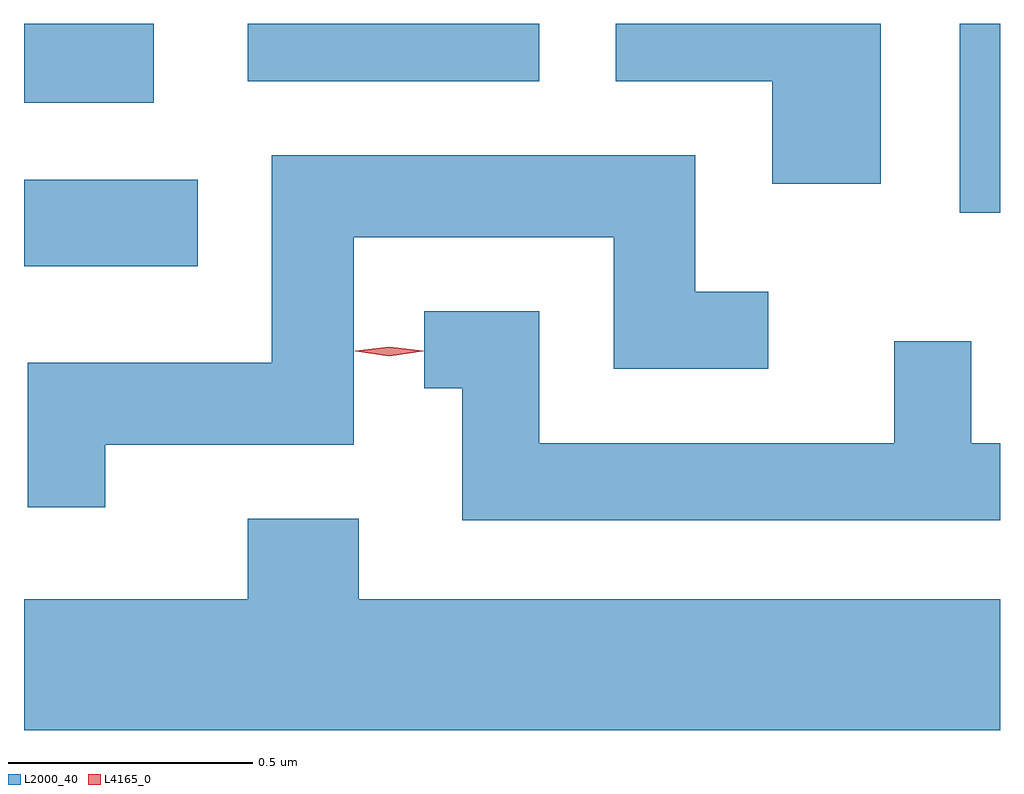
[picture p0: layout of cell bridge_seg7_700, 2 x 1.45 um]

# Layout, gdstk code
import gdstk
lib = gdstk.Library(unit=1e-6, precision=1e-09)
def R(c, l, rs):  # rectangles x0, y0, x1, y1
    for r in rs: c.add(gdstk.rectangle(r[:2], r[2:], *l))
def P(c, l, *ps):  # polygons
    for p in ps: c.add(gdstk.Polygon(p, *l))
L2000_40 = (2000, 40)
L4165_0 = (4165, 0)

bridge_seg7_700 = lib.new_cell('bridge_seg7_700')
R(bridge_seg7_700, L2000_40, [(949.613,1675.306,949.969,1675.484), (951.531,1675.416,951.613,1675.803), (949.613,1675.641,949.879,1675.803), (950.071,1675.686,950.669,1675.803)])
P(bridge_seg7_700, L2000_40, [(951.369,1675.803),(950.826,1675.803),(950.826,1675.686),(951.146,1675.686),(951.146,1675.476),(951.369,1675.476)],
  [(949.779,1674.941),(950.289,1674.941),(950.289,1675.366),(950.821,1675.366),(950.821,1675.096),(951.138,1675.096),(951.138,1675.254),(950.989,1675.254),(950.989,1675.534),(950.121,1675.534),(950.121,1675.109),(949.621,1675.109),(949.621,1674.813),(949.779,1674.813)],
  [(951.613,1674.944),(951.554,1674.944),(951.554,1675.153),(951.396,1675.153),(951.396,1674.944),(950.669,1674.944),(950.669,1675.214),(950.433,1675.214),(950.433,1675.056),(950.511,1675.056),(950.511,1674.786),(951.613,1674.786)],
  [(951.613,1674.624),(950.299,1674.624),(950.299,1674.789),(950.071,1674.789),(950.071,1674.624),(949.613,1674.624),(949.613,1674.356),(951.613,1674.356)])
P(bridge_seg7_700, L4165_0, [(950.361,1675.122),(950.292,1675.132),(950.292,1675.132),(950.292,1675.133),(950.361,1675.142),(950.431,1675.133),(950.431,1675.132),(950.431,1675.132)])

lib.write_gds('bridge_seg7_700.gds')
